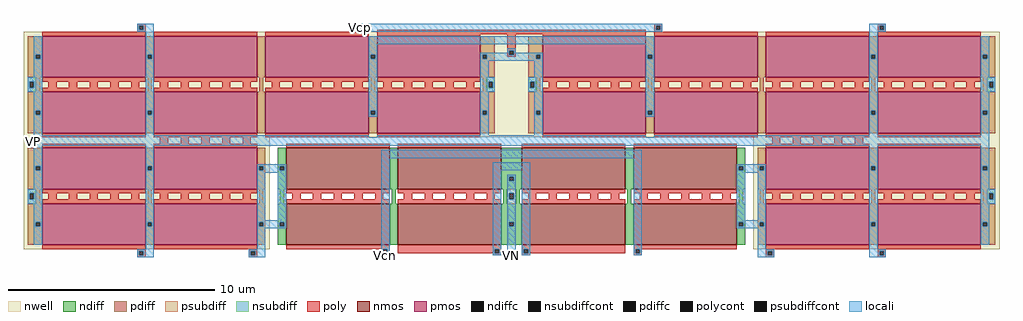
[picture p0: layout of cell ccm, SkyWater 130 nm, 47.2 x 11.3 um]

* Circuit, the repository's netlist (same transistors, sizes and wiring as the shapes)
* SPICE3 file created from ccm.ext - technology: sky130A


* Top level circuit ccm

X0 w_n3620_60# a_3280_100# a_3480_1180# w_n3620_60# sky130_fd_pr__pfet_01v8 ad=0.58 pd=3.53 as=0.58 ps=3.53 w=2 l=5
X1 a_3280_100# a_n1080_60# a_2200_100# a_1000_100# sky130_fd_pr__nfet_01v8 ad=0.87 pd=5.3 as=0.58 ps=3.53 w=2 l=5
X2 a_2200_100# a_0_20# a_1000_100# a_1000_100# sky130_fd_pr__nfet_01v8 ad=0.58 pd=3.53 as=2.14 ps=7 w=2 l=5
X3 w_n3620_60# w_n3620_60# w_n3620_60# w_n3620_60# sky130_fd_pr__pfet_01v8 ad=0.58 pd=3.53 as=24.6 ps=113.2 w=2 l=5
X4 a_n280_1180# w_n3620_60# w_n3620_60# w_n3620_60# sky130_fd_pr__pfet_01v8 ad=0.58 pd=3.53 as=1.47 ps=5.9 w=2 l=5
X5 w_n3620_60# a_3280_100# a_3280_100# w_n3620_60# sky130_fd_pr__pfet_01v8 ad=0.58 pd=3.53 as=0.87 ps=5.3 w=2 l=5
X6 a_n280_1180# w_n3620_60# w_n3620_60# w_n3620_60# sky130_fd_pr__pfet_01v8 ad=0.58 pd=3.53 as=1.47 ps=5.9 w=2 l=5
X7 a_1000_100# a_0_20# a_n80_100# a_1000_100# sky130_fd_pr__nfet_01v8 ad=2.14 pd=7 as=0.58 ps=3.53 w=2 l=5
X8 w_n3620_60# w_n3620_60# w_n3620_60# w_n3620_60# sky130_fd_pr__pfet_01v8 ad=0.58 pd=3.53 as=0 ps=0 w=2 l=5
X9 w_n3620_60# w_n3620_60# w_n3620_60# w_n3620_60# sky130_fd_pr__pfet_01v8 ad=0.58 pd=3.53 as=0 ps=0 w=2 l=5
X10 a_n280_1180# a_n1280_1140# a_n1360_1180# w_n3620_60# sky130_fd_pr__pfet_01v8 ad=0.58 pd=3.53 as=0.58 ps=3.53 w=2 l=5
X11 a_n280_1180# a_n1280_1140# a_n1360_1180# w_n3620_60# sky130_fd_pr__pfet_01v8 ad=0.58 pd=3.53 as=0.58 ps=3.53 w=2 l=5
X12 w_n3620_60# w_n3620_60# a_n280_1180# w_n3620_60# sky130_fd_pr__pfet_01v8 ad=1.47 pd=5.9 as=0.58 ps=3.53 w=2 l=5
X13 w_n3620_60# w_n3620_60# a_n280_1180# w_n3620_60# sky130_fd_pr__pfet_01v8 ad=1.47 pd=5.9 as=0.58 ps=3.53 w=2 l=5
X14 a_2200_100# a_0_20# a_1000_100# a_1000_100# sky130_fd_pr__nfet_01v8 ad=0.58 pd=3.53 as=2.14 ps=7 w=2 l=5
X15 a_n80_100# a_n1080_60# a_n2360_60# a_1000_100# sky130_fd_pr__nfet_01v8 ad=0.58 pd=3.53 as=0.87 ps=5.3 w=2 l=5
X16 a_1000_100# a_0_20# a_n80_100# a_1000_100# sky130_fd_pr__nfet_01v8 ad=2.14 pd=7 as=0.58 ps=3.53 w=2 l=5
X17 a_n1360_1180# a_n2360_60# w_n3620_60# w_n3620_60# sky130_fd_pr__pfet_01v8 ad=0.58 pd=3.53 as=0.58 ps=3.53 w=2 l=5
X18 w_n3620_60# w_n3620_60# w_n3620_60# w_n3620_60# sky130_fd_pr__pfet_01v8 ad=1.47 pd=5.9 as=0 ps=0 w=2 l=5
X19 a_n1360_1180# a_n2360_60# w_n3620_60# w_n3620_60# sky130_fd_pr__pfet_01v8 ad=0.58 pd=3.53 as=0.58 ps=3.53 w=2 l=5
X20 a_n2360_60# a_n2360_60# w_n3620_60# w_n3620_60# sky130_fd_pr__pfet_01v8 ad=0.87 pd=5.3 as=0.58 ps=3.53 w=2 l=5
X21 a_n80_100# a_n1080_60# a_n2360_60# a_1000_100# sky130_fd_pr__nfet_01v8 ad=0.58 pd=3.53 as=0.87 ps=5.3 w=2 l=5
X22 a_3480_1180# a_n1280_1140# a_n280_1180# w_n3620_60# sky130_fd_pr__pfet_01v8 ad=0.58 pd=3.53 as=0.58 ps=3.53 w=2 l=5
X23 a_3480_1180# a_n1280_1140# a_n280_1180# w_n3620_60# sky130_fd_pr__pfet_01v8 ad=0.58 pd=3.53 as=0.58 ps=3.53 w=2 l=5
X24 w_n3620_60# w_n3620_60# w_n3620_60# w_n3620_60# sky130_fd_pr__pfet_01v8 ad=1.47 pd=5.9 as=0 ps=0 w=2 l=5
X25 a_3280_100# a_n1080_60# a_2200_100# a_1000_100# sky130_fd_pr__nfet_01v8 ad=0.87 pd=5.3 as=0.58 ps=3.53 w=2 l=5
X26 w_n3620_60# w_n3620_60# w_n3620_60# w_n3620_60# sky130_fd_pr__pfet_01v8 ad=1.47 pd=5.9 as=0 ps=0 w=2 l=5
X27 w_n3620_60# w_n3620_60# w_n3620_60# w_n3620_60# sky130_fd_pr__pfet_01v8 ad=1.47 pd=5.9 as=0 ps=0 w=2 l=5
X28 a_n2360_60# a_n2360_60# w_n3620_60# w_n3620_60# sky130_fd_pr__pfet_01v8 ad=0.87 pd=5.3 as=0.58 ps=3.53 w=2 l=5
X29 w_n3620_60# w_n3620_60# w_n3620_60# w_n3620_60# sky130_fd_pr__pfet_01v8 ad=0.58 pd=3.53 as=0 ps=0 w=2 l=5
X30 w_n3620_60# a_3280_100# a_3480_1180# w_n3620_60# sky130_fd_pr__pfet_01v8 ad=0.58 pd=3.53 as=0.58 ps=3.53 w=2 l=5
X31 w_n3620_60# a_3280_100# a_3280_100# w_n3620_60# sky130_fd_pr__pfet_01v8 ad=0.58 pd=3.53 as=0.87 ps=5.3 w=2 l=5
.end

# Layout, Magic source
magic
tech sky130A
<< nwell >>
rect -100 1080 1200 1090
rect -1810 570 2910 1080
rect -1810 30 -620 570
rect 1720 30 2910 570
<< nmos >>
rect -540 320 -40 520
rect 0 320 500 520
rect 600 320 1100 520
rect 1140 320 1640 520
rect -540 50 -40 250
rect 0 50 500 250
rect 600 50 1100 250
rect 1140 50 1640 250
<< pmos >>
rect -1720 860 -1220 1060
rect -1180 860 -680 1060
rect -640 860 -140 1060
rect -100 860 400 1060
rect -1720 590 -1220 790
rect -1180 590 -680 790
rect -640 590 -140 790
rect -100 590 400 790
rect 700 860 1200 1060
rect 1240 860 1740 1060
rect 1780 860 2280 1060
rect 2320 860 2820 1060
rect 700 590 1200 790
rect 1240 590 1740 790
rect 1780 590 2280 790
rect 2320 590 2820 790
rect -1720 320 -1220 520
rect -1180 320 -680 520
rect 1780 320 2280 520
rect 2320 320 2820 520
rect -1720 50 -1220 250
rect -1180 50 -680 250
rect 1780 50 2280 250
rect 2320 50 2820 250
<< ndiff >>
rect -580 430 -540 520
rect -580 410 -570 430
rect -550 410 -540 430
rect -580 320 -540 410
rect -40 320 0 520
rect 500 380 600 520
rect 500 360 540 380
rect 560 360 600 380
rect 500 320 600 360
rect 1100 320 1140 520
rect 1640 430 1680 520
rect 1640 410 1650 430
rect 1670 410 1680 430
rect 1640 320 1680 410
rect -570 250 -550 320
rect -30 250 -10 320
rect 510 250 530 320
rect 570 250 590 320
rect 1110 250 1130 320
rect 1650 250 1670 320
rect -580 160 -540 250
rect -580 140 -570 160
rect -550 140 -540 160
rect -580 50 -540 140
rect -40 50 0 250
rect 500 160 600 250
rect 500 140 540 160
rect 560 140 600 160
rect 500 50 600 140
rect 1100 50 1140 250
rect 1640 160 1680 250
rect 1640 140 1650 160
rect 1670 140 1680 160
rect 1640 50 1680 140
<< pdiff >>
rect -1790 970 -1720 1060
rect -1790 950 -1750 970
rect -1730 950 -1720 970
rect -1790 860 -1720 950
rect -1220 970 -1180 1060
rect -1220 950 -1210 970
rect -1190 950 -1180 970
rect -1220 860 -1180 950
rect -680 860 -640 1060
rect -140 970 -100 1060
rect -140 950 -130 970
rect -110 950 -100 970
rect -140 860 -100 950
rect 400 970 470 1060
rect 400 950 410 970
rect 430 950 470 970
rect 630 970 700 1060
rect 400 860 470 950
rect -1750 790 -1730 860
rect -1210 790 -1190 860
rect -670 790 -650 860
rect -130 790 -110 860
rect 410 790 430 860
rect -1790 700 -1720 790
rect -1790 680 -1750 700
rect -1730 680 -1720 700
rect -1790 590 -1720 680
rect -1220 700 -1180 790
rect -1220 680 -1210 700
rect -1190 680 -1180 700
rect -1220 590 -1180 680
rect -680 590 -640 790
rect -140 700 -100 790
rect -140 680 -130 700
rect -110 680 -100 700
rect -140 590 -100 680
rect 400 700 470 790
rect 400 680 410 700
rect 430 680 470 700
rect 400 590 470 680
rect 630 950 670 970
rect 690 950 700 970
rect 630 860 700 950
rect 1200 970 1240 1060
rect 1200 950 1210 970
rect 1230 950 1240 970
rect 1200 860 1240 950
rect 1740 860 1780 1060
rect 2280 970 2320 1060
rect 2280 950 2290 970
rect 2310 950 2320 970
rect 2280 860 2320 950
rect 2820 970 2890 1060
rect 2820 950 2830 970
rect 2850 950 2890 970
rect 2820 860 2890 950
rect 670 790 690 860
rect 1210 790 1230 860
rect 1750 790 1770 860
rect 2290 790 2310 860
rect 2830 790 2850 860
rect 630 700 700 790
rect 630 680 670 700
rect 690 680 700 700
rect 630 590 700 680
rect 1200 700 1240 790
rect 1200 680 1210 700
rect 1230 680 1240 700
rect 1200 590 1240 680
rect 1740 590 1780 790
rect 2280 700 2320 790
rect 2280 680 2290 700
rect 2310 680 2320 700
rect 2280 590 2320 680
rect 2820 700 2890 790
rect 2820 680 2830 700
rect 2850 680 2890 700
rect 2820 590 2890 680
rect -1790 430 -1720 520
rect -1790 410 -1750 430
rect -1730 410 -1720 430
rect -1790 320 -1720 410
rect -1220 430 -1180 520
rect -1220 410 -1210 430
rect -1190 410 -1180 430
rect -1220 320 -1180 410
rect -680 430 -640 520
rect -680 410 -670 430
rect -650 410 -640 430
rect -680 320 -640 410
rect 1740 430 1780 520
rect 1740 410 1750 430
rect 1770 410 1780 430
rect 1740 320 1780 410
rect 2280 430 2320 520
rect 2280 410 2290 430
rect 2310 410 2320 430
rect 2280 320 2320 410
rect 2820 430 2890 520
rect 2820 410 2830 430
rect 2850 410 2890 430
rect 2820 320 2890 410
rect -1750 250 -1730 320
rect -1210 250 -1190 320
rect -670 250 -650 320
rect 1750 250 1770 320
rect 2290 250 2310 320
rect 2830 250 2850 320
rect -1790 160 -1720 250
rect -1790 140 -1750 160
rect -1730 140 -1720 160
rect -1790 50 -1720 140
rect -1220 160 -1180 250
rect -1220 140 -1210 160
rect -1190 140 -1180 160
rect -1220 50 -1180 140
rect -680 160 -640 250
rect -680 140 -670 160
rect -650 140 -640 160
rect -680 50 -640 140
rect 1740 160 1780 250
rect 1740 140 1750 160
rect 1770 140 1780 160
rect 1740 50 1780 140
rect 2280 160 2320 250
rect 2280 140 2290 160
rect 2310 140 2320 160
rect 2280 50 2320 140
rect 2820 160 2890 250
rect 2820 140 2830 160
rect 2850 140 2890 160
rect 2820 50 2890 140
<< ndiffc >>
rect -570 410 -550 430
rect 540 360 560 380
rect 1650 410 1670 430
rect -570 140 -550 160
rect 540 140 560 160
rect 1650 140 1670 160
<< pdiffc >>
rect -1750 950 -1730 970
rect -1210 950 -1190 970
rect -130 950 -110 970
rect 410 950 430 970
rect -1750 680 -1730 700
rect -1210 680 -1190 700
rect -130 680 -110 700
rect 410 680 430 700
rect 670 950 690 970
rect 1210 950 1230 970
rect 2290 950 2310 970
rect 2830 950 2850 970
rect 670 680 690 700
rect 1210 680 1230 700
rect 2290 680 2310 700
rect 2830 680 2850 700
rect -1750 410 -1730 430
rect -1210 410 -1190 430
rect -670 410 -650 430
rect 1750 410 1770 430
rect 2290 410 2310 430
rect 2830 410 2850 430
rect -1750 140 -1730 160
rect -1210 140 -1190 160
rect -670 140 -650 160
rect 1750 140 1770 160
rect 2290 140 2310 160
rect 2830 140 2850 160
<< psubdiff >>
rect 530 300 570 320
rect 530 270 540 300
rect 560 270 570 300
rect 530 250 570 270
<< nsubdiff >>
rect -1790 840 -1750 860
rect -1790 810 -1780 840
rect -1760 810 -1750 840
rect -1790 790 -1750 810
rect 430 840 470 860
rect 430 810 440 840
rect 460 810 470 840
rect 430 790 470 810
rect 630 840 670 860
rect 630 810 640 840
rect 660 810 670 840
rect 630 790 670 810
rect 2850 840 2890 860
rect 2850 810 2860 840
rect 2880 810 2890 840
rect 2850 790 2890 810
rect -1790 300 -1750 320
rect -1790 270 -1780 300
rect -1760 270 -1750 300
rect -1790 250 -1750 270
rect 2850 300 2890 320
rect 2850 270 2860 300
rect 2880 270 2890 300
rect 2850 250 2890 270
<< psubdiffcont >>
rect 540 270 560 300
<< nsubdiffcont >>
rect -1780 810 -1760 840
rect 440 810 460 840
rect 640 810 660 840
rect 2860 810 2880 840
rect -1780 270 -1760 300
rect 2860 270 2880 300
<< poly >>
rect -1260 1110 -1220 1120
rect -1260 1090 -1250 1110
rect -1230 1090 -1220 1110
rect -1260 1080 -1220 1090
rect -180 1110 -140 1120
rect -180 1090 -170 1110
rect -150 1090 -140 1110
rect 1240 1110 1280 1120
rect 1240 1090 1250 1110
rect 1270 1090 1280 1110
rect -180 1080 -140 1090
rect -1720 1060 -1220 1080
rect -1180 1060 -680 1080
rect -640 1060 -140 1080
rect -100 1070 1200 1090
rect -100 1060 400 1070
rect 530 990 570 1070
rect 700 1060 1200 1070
rect 1240 1080 1280 1090
rect 2320 1110 2360 1120
rect 2320 1090 2330 1110
rect 2350 1090 2360 1110
rect 2320 1080 2360 1090
rect 1240 1060 1740 1080
rect 1780 1060 2280 1080
rect 2320 1060 2820 1080
rect 530 970 540 990
rect 560 970 570 990
rect 530 960 570 970
rect -1720 840 -1220 860
rect -1690 810 -1650 840
rect -1590 810 -1550 840
rect -1490 810 -1450 840
rect -1390 810 -1350 840
rect -1290 810 -1250 840
rect -1720 790 -1220 810
rect -1180 840 -680 860
rect -1150 810 -1110 840
rect -1050 810 -1010 840
rect -950 810 -910 840
rect -850 810 -810 840
rect -750 810 -710 840
rect -1180 790 -680 810
rect -640 840 -140 860
rect -610 810 -570 840
rect -510 810 -470 840
rect -410 810 -370 840
rect -310 810 -270 840
rect -210 810 -170 840
rect -640 790 -140 810
rect -100 840 400 860
rect -70 810 -30 840
rect 30 810 70 840
rect 130 810 170 840
rect 230 810 270 840
rect 330 810 370 840
rect -100 790 400 810
rect 700 840 1200 860
rect 730 810 770 840
rect 830 810 870 840
rect 930 810 970 840
rect 1030 810 1070 840
rect 1130 810 1170 840
rect 700 790 1200 810
rect 1240 840 1740 860
rect 1270 810 1310 840
rect 1370 810 1410 840
rect 1470 810 1510 840
rect 1570 810 1610 840
rect 1670 810 1710 840
rect 1240 790 1740 810
rect 1780 840 2280 860
rect 1810 810 1850 840
rect 1910 810 1950 840
rect 2010 810 2050 840
rect 2110 810 2150 840
rect 2210 810 2250 840
rect 1780 790 2280 810
rect 2320 840 2820 860
rect 2350 810 2390 840
rect 2450 810 2490 840
rect 2550 810 2590 840
rect 2650 810 2690 840
rect 2750 810 2790 840
rect 2320 790 2820 810
rect -1720 570 -1220 590
rect -1180 570 -680 590
rect -640 570 -140 590
rect -100 570 400 590
rect 700 570 1200 590
rect 1240 570 1740 590
rect 1780 570 2280 590
rect 2320 570 2820 590
rect -1150 540 -1110 570
rect -1050 540 -1010 570
rect -950 540 -910 570
rect -850 540 -810 570
rect -750 540 -710 570
rect 1810 540 1850 570
rect 1910 540 1950 570
rect 2010 540 2050 570
rect 2110 540 2150 570
rect 2210 540 2250 570
rect -1720 520 -1220 540
rect -1180 520 -680 540
rect -540 520 -40 540
rect 0 520 500 540
rect 600 520 1100 540
rect 1140 520 1640 540
rect 1780 520 2280 540
rect 2320 520 2820 540
rect -1720 300 -1220 320
rect -1690 270 -1650 300
rect -1590 270 -1550 300
rect -1490 270 -1450 300
rect -1390 270 -1350 300
rect -1290 270 -1250 300
rect -1720 250 -1220 270
rect -1180 300 -680 320
rect -1150 270 -1110 300
rect -1050 270 -1010 300
rect -950 270 -910 300
rect -850 270 -810 300
rect -750 270 -710 300
rect -1180 250 -680 270
rect -540 300 -40 320
rect -510 270 -470 300
rect -410 270 -370 300
rect -310 270 -270 300
rect -210 270 -170 300
rect -110 270 -70 300
rect -540 250 -40 270
rect 0 300 500 320
rect 30 270 70 300
rect 130 270 170 300
rect 230 270 270 300
rect 330 270 370 300
rect 430 270 470 300
rect 0 250 500 270
rect 600 300 1100 320
rect 630 270 670 300
rect 730 270 770 300
rect 830 270 870 300
rect 930 270 970 300
rect 1030 270 1070 300
rect 600 250 1100 270
rect 1140 300 1640 320
rect 1170 270 1210 300
rect 1270 270 1310 300
rect 1370 270 1410 300
rect 1470 270 1510 300
rect 1570 270 1610 300
rect 1140 250 1640 270
rect 1780 300 2280 320
rect 1810 270 1850 300
rect 1910 270 1950 300
rect 2010 270 2050 300
rect 2110 270 2150 300
rect 2210 270 2250 300
rect 1780 250 2280 270
rect 2320 300 2820 320
rect 2350 270 2390 300
rect 2450 270 2490 300
rect 2550 270 2590 300
rect 2650 270 2690 300
rect 2750 270 2790 300
rect 2320 250 2820 270
rect -1720 30 -1220 50
rect -1180 30 -680 50
rect -540 30 -40 50
rect -1260 20 -1220 30
rect -1260 0 -1250 20
rect -1230 0 -1220 20
rect -1260 -10 -1220 0
rect -720 20 -680 30
rect -720 0 -710 20
rect -690 0 -680 20
rect -80 10 -70 30
rect -50 10 -40 30
rect 0 30 500 50
rect 0 10 470 30
rect 490 10 500 30
rect -80 0 -40 10
rect 460 0 500 10
rect 600 30 1100 50
rect 600 10 610 30
rect 630 10 1100 30
rect 1140 30 1640 50
rect 1780 30 2280 50
rect 2320 30 2820 50
rect 1140 10 1150 30
rect 1170 10 1180 30
rect 600 0 640 10
rect 1140 0 1180 10
rect 1780 20 1820 30
rect 1780 0 1790 20
rect 1810 0 1820 20
rect -720 -10 -680 0
rect 1780 -10 1820 0
rect 2320 20 2360 30
rect 2320 0 2330 20
rect 2350 0 2360 20
rect 2320 -10 2360 0
<< polycont >>
rect -1250 1090 -1230 1110
rect -170 1090 -150 1110
rect 1250 1090 1270 1110
rect 2330 1090 2350 1110
rect 540 970 560 990
rect -1250 0 -1230 20
rect -710 0 -690 20
rect -70 10 -50 30
rect 470 10 490 30
rect 610 10 630 30
rect 1150 10 1170 30
rect 1790 0 1810 20
rect 2330 0 2350 20
<< locali >>
rect -1260 1110 -1180 1120
rect -1260 1090 -1250 1110
rect -1230 1090 -1180 1110
rect -1260 1080 -1180 1090
rect -180 1110 1280 1120
rect -180 1090 -170 1110
rect -150 1090 1250 1110
rect 1270 1090 1280 1110
rect -180 1080 1280 1090
rect 2280 1110 2360 1120
rect 2280 1090 2330 1110
rect 2350 1090 2360 1110
rect 2280 1080 2360 1090
rect -1760 970 -1720 1060
rect -1760 950 -1750 970
rect -1730 950 -1720 970
rect -1760 860 -1720 950
rect -1790 840 -1720 860
rect -1790 810 -1780 840
rect -1760 810 -1720 840
rect -1790 790 -1720 810
rect -1760 700 -1720 790
rect -1760 680 -1750 700
rect -1730 680 -1720 700
rect -1760 580 -1720 680
rect -1220 970 -1180 1080
rect -1220 950 -1210 970
rect -1190 950 -1180 970
rect -1220 700 -1180 950
rect -1220 680 -1210 700
rect -1190 680 -1180 700
rect -1220 580 -1180 680
rect -140 1020 1240 1060
rect -140 970 -100 1020
rect 530 990 570 1000
rect 530 980 540 990
rect -140 950 -130 970
rect -110 950 -100 970
rect -140 700 -100 950
rect -140 680 -130 700
rect -110 680 -100 700
rect -140 670 -100 680
rect 400 970 540 980
rect 560 980 570 990
rect 560 970 700 980
rect 400 950 410 970
rect 430 950 670 970
rect 690 950 700 970
rect 400 940 700 950
rect 400 860 440 940
rect 660 860 700 940
rect 400 840 470 860
rect 400 810 440 840
rect 460 810 470 840
rect 400 790 470 810
rect 630 840 700 860
rect 630 810 640 840
rect 660 810 700 840
rect 630 790 700 810
rect 400 700 440 790
rect 400 680 410 700
rect 430 680 440 700
rect 400 580 440 680
rect 660 700 700 790
rect 660 680 670 700
rect 690 680 700 700
rect 660 580 700 680
rect 1200 970 1240 1020
rect 1200 950 1210 970
rect 1230 950 1240 970
rect 1200 700 1240 950
rect 1200 680 1210 700
rect 1230 680 1240 700
rect 1200 670 1240 680
rect 2280 970 2320 1080
rect 2280 950 2290 970
rect 2310 950 2320 970
rect 2280 700 2320 950
rect 2280 680 2290 700
rect 2310 680 2320 700
rect 2280 580 2320 680
rect 2820 970 2860 1060
rect 2820 950 2830 970
rect 2850 950 2860 970
rect 2820 860 2860 950
rect 2820 840 2890 860
rect 2820 810 2860 840
rect 2880 810 2890 840
rect 2820 790 2890 810
rect 2820 700 2860 790
rect 2820 680 2830 700
rect 2850 680 2860 700
rect 2820 580 2860 680
rect -1760 570 -140 580
rect -100 570 1200 580
rect 1240 570 2860 580
rect -1760 530 2860 570
rect -1760 430 -1720 530
rect -1760 410 -1750 430
rect -1730 410 -1720 430
rect -1760 320 -1720 410
rect -1790 300 -1720 320
rect -1790 270 -1780 300
rect -1760 270 -1720 300
rect -1790 250 -1720 270
rect -1760 160 -1720 250
rect -1760 140 -1750 160
rect -1730 140 -1720 160
rect -1760 50 -1720 140
rect -1220 430 -1180 530
rect -80 470 1180 510
rect -1220 410 -1210 430
rect -1190 410 -1180 430
rect -1220 160 -1180 410
rect -1220 140 -1210 160
rect -1190 140 -1180 160
rect -1220 30 -1180 140
rect -680 430 -540 440
rect -680 410 -670 430
rect -650 410 -570 430
rect -550 410 -540 430
rect -680 400 -540 410
rect -680 170 -640 400
rect -580 170 -540 400
rect -680 160 -540 170
rect -680 140 -670 160
rect -650 140 -570 160
rect -550 140 -540 160
rect -680 130 -540 140
rect -680 30 -640 130
rect -1260 20 -1180 30
rect -1260 0 -1250 20
rect -1230 0 -1180 20
rect -1260 -10 -1180 0
rect -720 20 -640 30
rect -720 0 -710 20
rect -690 0 -640 20
rect -80 30 -40 470
rect -80 10 -70 30
rect -50 10 -40 30
rect -80 0 -40 10
rect 460 410 640 450
rect 460 30 500 410
rect 460 10 470 30
rect 490 10 500 30
rect 460 0 500 10
rect 530 380 570 390
rect 530 360 540 380
rect 560 360 570 380
rect 530 300 570 360
rect 530 270 540 300
rect 560 270 570 300
rect 530 160 570 270
rect 530 140 540 160
rect 560 140 570 160
rect 530 0 570 140
rect 600 30 640 410
rect 600 10 610 30
rect 630 10 640 30
rect 600 0 640 10
rect 1140 30 1180 470
rect 1640 430 1780 440
rect 1640 410 1650 430
rect 1670 410 1750 430
rect 1770 410 1780 430
rect 1640 400 1780 410
rect 1640 170 1680 400
rect 1740 170 1780 400
rect 1640 160 1780 170
rect 1640 140 1650 160
rect 1670 140 1750 160
rect 1770 140 1780 160
rect 1640 130 1780 140
rect 1140 10 1150 30
rect 1170 10 1180 30
rect 1140 0 1180 10
rect 1740 30 1780 130
rect 2280 430 2320 530
rect 2280 410 2290 430
rect 2310 410 2320 430
rect 2280 160 2320 410
rect 2280 140 2290 160
rect 2310 140 2320 160
rect 2280 30 2320 140
rect 2820 430 2860 530
rect 2820 410 2830 430
rect 2850 410 2860 430
rect 2820 320 2860 410
rect 2820 300 2890 320
rect 2820 270 2860 300
rect 2880 270 2890 300
rect 2820 250 2890 270
rect 2820 160 2860 250
rect 2820 140 2830 160
rect 2850 140 2860 160
rect 2820 50 2860 140
rect 1740 20 1820 30
rect 1740 0 1790 20
rect 1810 0 1820 20
rect -720 -10 -640 0
rect 1740 -10 1820 0
rect 2280 20 2360 30
rect 2280 0 2330 20
rect 2350 0 2360 20
rect 2280 -10 2360 0
<< labels >>
rlabel locali -1760 550 -1760 550 7 VP
port 0 w
rlabel locali 550 0 550 0 5 VN
port 1 s
rlabel locali 480 0 480 0 5 Vdsg
port 2 s
rlabel locali -60 0 -60 0 5 Vcn
port 3 s
rlabel locali -180 1100 -180 1100 7 Vcp
port 4 w
rlabel locali -140 1040 -140 1040 7 Vout
port 5 w
<< end >>
